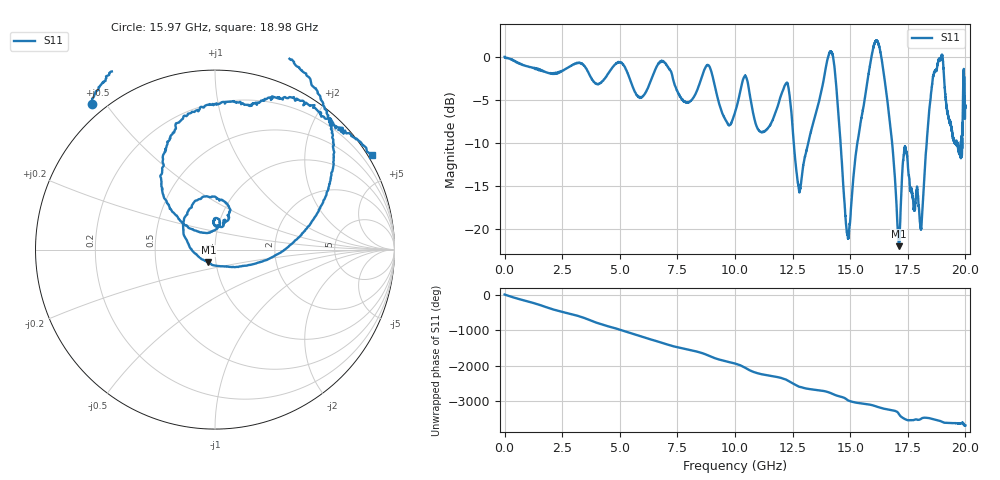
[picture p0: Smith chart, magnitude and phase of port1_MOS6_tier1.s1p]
! Created with skrf 1.8.0 (http://scikit-rf.org).
# GHz S RI R 50.0
!freq ReS11 ImS11
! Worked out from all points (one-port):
!   10000 points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, 3 MHz to 20 GHz, reference 50 ohm
!   lowest |S11| = -22.0 dB at 17.11 GHz (marker M1), VSWR 1.17, Z = 46.1 - j6.56 ohm
!   |S11| at or under -10 dB: 12.55 GHz to 13.18 GHz (628.5 MHz wide, 4.89 % of centre); 14.58 GHz to 15.31 GHz (730.8 MHz wide, 4.89 % of centre); 16.82 GHz to 18.32 GHz (1.501 GHz wide, 8.54 % of centre) (the widest 3 of 20)
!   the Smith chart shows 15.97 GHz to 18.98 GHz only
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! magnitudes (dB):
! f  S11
! 3 MHz  0.0
! 2.503 GHz  -1.7
! 5.003 GHz  -0.6
! 5.815 GHz  -4.7
! 6.815 GHz  -0.5
! 7.503 GHz  -4.0
! 8.831 GHz  -1.0
! 9.631 GHz  -7.5
! 10 GHz  -6.5
! 10.45 GHz  -2.2
! 11.27 GHz  -8.7
! 12.23 GHz  -3.1
! 12.5 GHz  -8.3
! 12.82 GHz  -15.5
! 14.18 GHz  0.5
! 14.83 GHz  -19.8
! 15 GHz  -18.9
! 15.34 GHz  -9.5
! 16.14 GHz  1.8
! 16.66 GHz  -6.2
! 17.11 GHz  -22.0
! 17.34 GHz  -11.0
! 17.5 GHz  -12.6
! 18.08 GHz  -19.9
! 18.53 GHz  -3.9
! 18.91 GHz  -0.4
! 19.73 GHz  -10.8
! 20 GHz  -5.9
